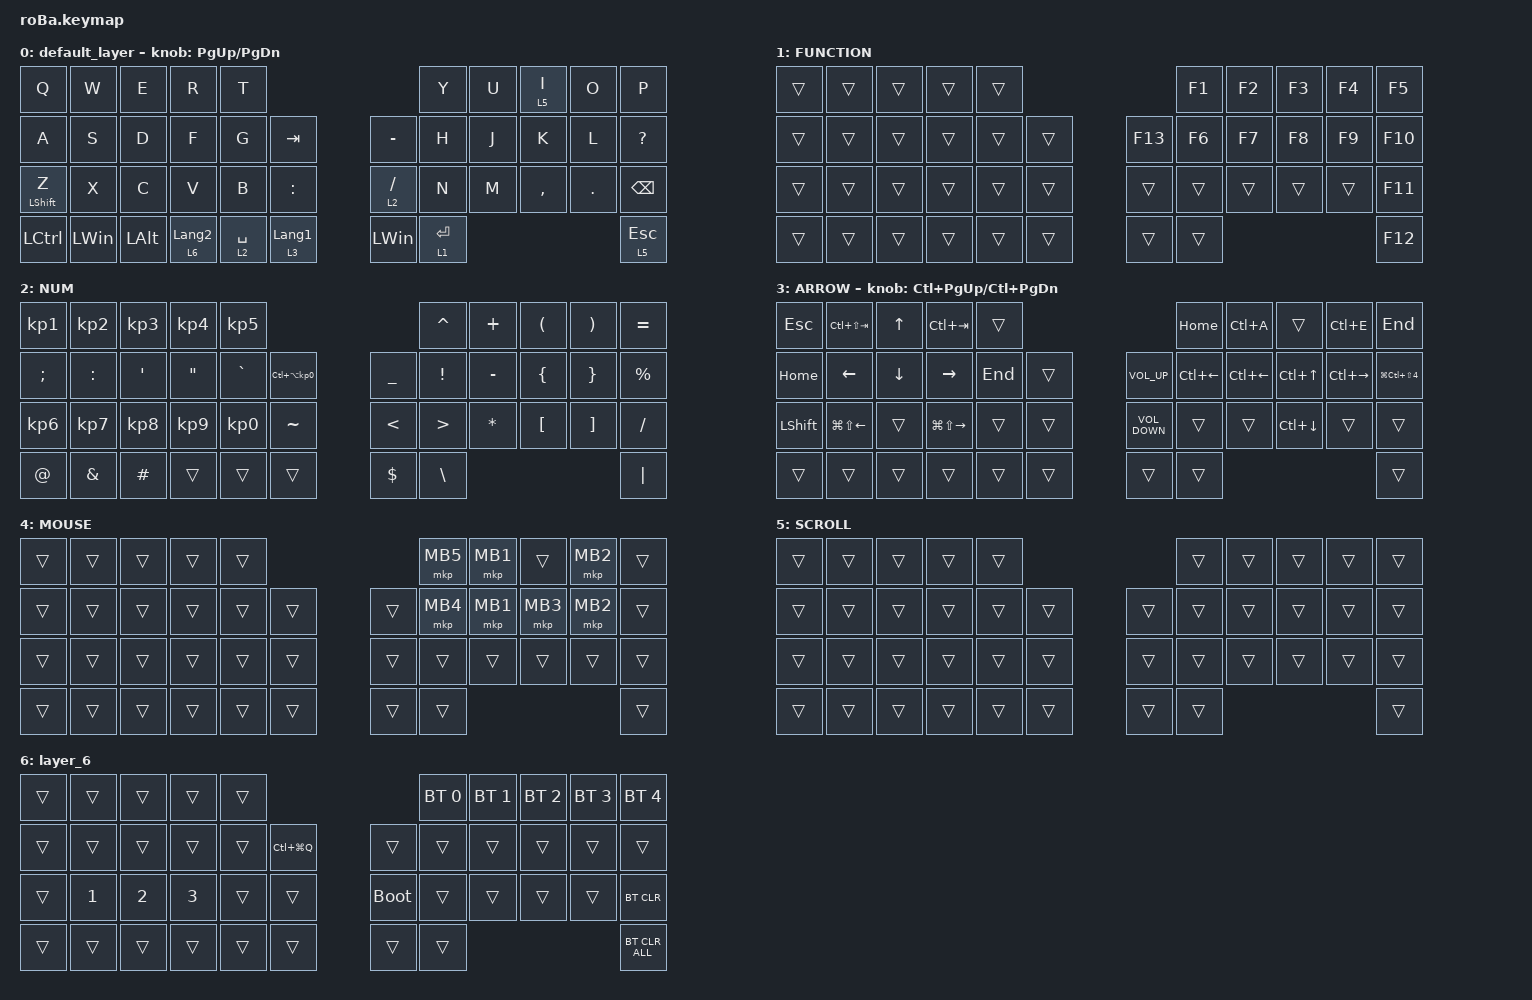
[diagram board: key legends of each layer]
#include <behaviors.dtsi>
#include <input/processors.dtsi>
#include <dt-bindings/zmk/bt.h>
#include <dt-bindings/zmk/keys.h>
#include <dt-bindings/zmk/pointing.h>

#define MOUSE 4
#define SCROLL 5

// Keep the displayed symbol labels aligned with the actual keycodes sent.
#define JP_DQUOTE       DOUBLE_QUOTES
#define JP_AMPERSAND    AMPERSAND
#define JP_QUOTE        SINGLE_QUOTE
#define JP_EQUAL        EQUAL
#define JP_CARET        CARET
#define JP_BACKSLASH    BACKSLASH
#define JP_PLUS         PLUS
#define JP_TILDE        TILDE
#define JP_PIPE         PIPE
#define JP_AT           AT
#define JP_COLON        COLON
#define JP_ASTERISK     ASTERISK
#define JP_BACKQUOTE    GRAVE
#define JP_UNDERSCORE   UNDERSCORE
#define JP_QUESTION     QUESTION
#define JP_LBRACKET     LEFT_BRACKET
#define JP_RBRACKET     RIGHT_BRACKET
#define JP_LPAREN       LEFT_PARENTHESIS
#define JP_RPAREN       RIGHT_PARENTHESIS
#define JP_LT           LESS_THAN
#define JP_GT           GREATER_THAN
#define JP_LBRACE       LEFT_BRACE
#define JP_RBRACE       RIGHT_BRACE
#define JP_KANA         LANGUAGE_1
#define JP_EISU         LANGUAGE_2
#define JP_HANZEN       GRAVE

&mt {
    flavor = "balanced";
    quick-tap-ms = <0>;
};

&trackball {
    scroll-layers = <SCROLL>;

    // arrows {
    //     layers = <3>;
    //     bindings =
    //         <&kp RIGHT_ARROW>,
    //         <&kp LEFT_ARROW>,
    //         <&kp UP_ARROW>,
    //         <&kp DOWN_ARROW>;

    //     tick = <10>;
    //     wait-ms = <5>;
    //     tap-ms = <5>;
    // };
};

&zip_temp_layer {
    require-prior-idle-ms = <700>;
    excluded-positions = <
        5  // Y / forward
        6  // U / MB1
        7  // I / MB3
        8  // O / MB2
        17 // H / back
        18 // J / MB1
        19 // K / MB3
        20 // L / MB2
        22 // Shift / Z
        34 // Ctrl
    >;
};

&trackball_listener {
    scroller {
        layers = <SCROLL>;
    };

    input-processors = <&zip_temp_layer MOUSE 100000 &zip_xy_scaler 1 2>;
};

&mkp_input_listener {
    input-processors = <&zip_temp_layer MOUSE 250>;
};

/ {
    combos {
        compatible = "zmk,combos";

        tab {
            bindings = <&kp TAB>;
            key-positions = <11 12>;
        };

        shift_tab {
            bindings = <&kp LS(TAB)>;
            key-positions = <12 13>;
        };

        muhennkann {
            bindings = <&to_layer_0 INT_MUHENKAN>;
            key-positions = <11 10>;
        };

        double_quotation {
            bindings = <&kp JP_DQUOTE>;
            key-positions = <20 21>;
        };

        eq {
            bindings = <&kp JP_EQUAL>;
            key-positions = <24 25>;
        };
    };

    macros {
        exit_AML: exit_AML {
            compatible = "zmk,behavior-macro";
            wait-ms = <0>;
            tap-ms = <0>;
            #binding-cells = <0>;
            bindings = <&tog_off MOUSE>;
            label = "exit_AML";
        };

        kp_exit_AML: kp_exit_AML {
            compatible = "zmk,behavior-macro-one-param";
            wait-ms = <0>;
            tap-ms = <0>;
            #binding-cells = <1>;
            bindings = <&macro_param_1to1 &kp MACRO_PLACEHOLDER &exit_AML>;
            label = "KP_exit_AML";
        };

        to_layer_0: to_layer_0 {
            compatible = "zmk,behavior-macro-one-param";
            #binding-cells = <1>;
            bindings = <&to 0 &macro_param_1to1 &kp MACRO_PLACEHOLDER>;
            label = "TO_LAYER_0";
        };
    };

    behaviors {
        tog_off: toggle_layer_off {
            compatible = "zmk,behavior-toggle-layer";
            #binding-cells = <1>;
            display-name = "Toggle Layer Off";
            toggle-mode = "off";
        };

        mt_exit_AML_on_tap: mt_exit_AML_on_tap {
            compatible = "zmk,behavior-hold-tap";
            label = "MT_exit_AML_ON_TAP";
            bindings = <&kp>, <&kp_exit_AML>;
            #binding-cells = <2>;
            tapping-term-ms = <200>;
            flavor = "balanced";
            quick-tap-ms = <200>;
        };

        lt_to_layer_0: lt_to_layer_0 {
            compatible = "zmk,behavior-hold-tap";
            label = "LAYER_TAP_TO_0";
            bindings = <&mo>, <&to_layer_0>;

            #binding-cells = <2>;
            tapping-term-ms = <200>;
        };
    };

    keymap {
        compatible = "zmk,keymap";

        default_layer {
            bindings = <
&kp Q             &kp W         &kp E         &kp R                        &kp T                                                          &kp Y        &kp U  &lt 5 I    &kp O    &kp P
&kp A             &kp S         &kp D         &kp F                        &kp G        &kp TAB                            &kp MINUS      &kp H        &kp J  &kp K      &kp L    &kp JP_QUESTION
&mt_exit_AML_on_tap LEFT_SHIFT Z  &kp X         &kp C         &kp V                        &kp B        &kp JP_COLON                       &lt 2 SLASH   &kp N        &kp M  &kp COMMA  &kp DOT  &kp BACKSPACE
&kp LCTRL         &kp LEFT_WIN  &kp LEFT_ALT  &lt_to_layer_0 6 JP_EISU       &lt 2 SPACE  &lt_to_layer_0 3 JP_KANA        &kp LEFT_WIN   &lt 1 ENTER                             &lt 5 ESCAPE
            >;

            sensor-bindings = <&inc_dec_kp PG_UP PAGE_DOWN>;
        };

        FUNCTION {
            bindings = <
&trans  &trans  &trans  &trans  &trans                       &kp F1  &kp F2  &kp F3  &kp F4  &kp F5
&trans  &trans  &trans  &trans  &trans  &trans      &kp F13  &kp F6  &kp F7  &kp F8  &kp F9  &kp F10
&trans  &trans  &trans  &trans  &trans  &trans      &trans   &trans  &trans  &trans  &trans  &kp F11
&trans  &trans  &trans  &trans  &trans  &trans      &trans   &trans                          &kp F12
            >;
        };

        NUM {
            bindings = <
&kp KP_NUMBER_1             &kp KP_NUMBER_2  &kp KP_NUMBER_3  &kp KP_NUMBER_4  &kp KP_NUMBER_5                                          &kp JP_CARET      &kp JP_PLUS        &kp JP_LPAREN    &kp JP_RPAREN        &kp JP_EQUAL
&kp SEMICOLON               &kp JP_COLON     &kp JP_QUOTE     &kp JP_DQUOTE    &kp JP_BACKQUOTE  &kp LC(LA(KP_NUMBER_0))   &kp JP_UNDERSCORE  &kp EXCLAMATION   &kp MINUS      &kp JP_LBRACE    &kp JP_RBRACE       &kp PERCENT
&kp KP_NUMBER_6             &kp KP_NUMBER_7  &kp KP_NUMBER_8  &kp KP_NUMBER_9  &kp KP_NUMBER_0   &kp JP_TILDE          &kp JP_LT          &kp JP_GT      &kp JP_ASTERISK  &kp JP_LBRACKET  &kp JP_RBRACKET     &kp SLASH
&kp JP_AT                   &kp JP_AMPERSAND &kp HASH         &trans           &trans           &trans                    &kp DOLLAR         &kp JP_BACKSLASH                       &kp JP_PIPE
            >;
        };

        ARROW {
            bindings = <
&kp ESCAPE      &kp LC(LS(TAB))         &kp UP_ARROW    &kp LC(TAB)              &trans                       &kp HOME       &kp LC(A)        &trans  &kp LC(E)  &kp END
&kp HOME        &kp LEFT_ARROW          &kp DOWN_ARROW  &kp RIGHT_ARROW          &kp END  &trans      &kp C_VOLUME_UP  &kp LC(LEFT_ARROW)  &kp LC(LEFT_ARROW)  &kp LC(UP_ARROW)  &kp LC(RIGHT_ARROW)  &kp LG(LC(LS(NUMBER_4)))
&kp LEFT_SHIFT  &kp LG(LS(LEFT_ARROW))  &trans          &kp LG(LS(RIGHT_ARROW))  &trans   &trans      &kp C_VOLUME_DOWN  &trans  &trans  &kp LC(DOWN_ARROW)  &trans  &trans
&trans          &trans                  &trans          &trans                   &trans   &trans      &trans  &trans                          &trans
            >;

            sensor-bindings = <&inc_dec_kp LC(PAGE_UP) LC(PAGE_DOWN)>;
        };

        MOUSE {
            bindings = <
&trans  &trans  &trans  &trans  &trans                      &mkp MB5  &mkp MB1  &trans    &mkp MB2  &trans
&trans  &trans  &trans  &trans  &trans  &trans      &trans  &mkp MB4  &mkp MB1  &mkp MB3  &mkp MB2  &trans
&trans  &trans  &trans  &trans  &trans  &trans      &trans  &trans  &trans    &trans    &trans    &trans
&trans  &trans  &trans  &trans  &trans  &trans      &trans  &trans                                &trans
            >;
        };

        SCROLL {
            bindings = <
&trans  &trans  &trans  &trans  &trans                      &trans  &trans  &trans  &trans  &trans
&trans  &trans  &trans  &trans  &trans  &trans      &trans  &trans  &trans  &trans  &trans  &trans
&trans  &trans  &trans  &trans  &trans  &trans      &trans  &trans  &trans  &trans  &trans  &trans
&trans  &trans  &trans  &trans  &trans  &trans      &trans  &trans                          &trans
            >;
        };

        layer_6 {
            bindings = <
&trans  &trans        &trans        &trans        &trans                           &bt BT_SEL 0  &bt BT_SEL 1  &bt BT_SEL 2  &bt BT_SEL 3  &bt BT_SEL 4
&trans  &trans        &trans        &trans        &trans  &kp LC(LG(Q))      &trans       &trans        &trans        &trans        &trans        &trans
&trans  &kp NUMBER_1  &kp NUMBER_2  &kp NUMBER_3  &trans  &trans            &bootloader  &trans        &trans        &trans        &trans        &bt BT_CLR
&trans  &trans        &trans        &trans        &trans  &trans      &trans       &trans                                                  &bt BT_CLR_ALL
            >;
        };
    };
};
